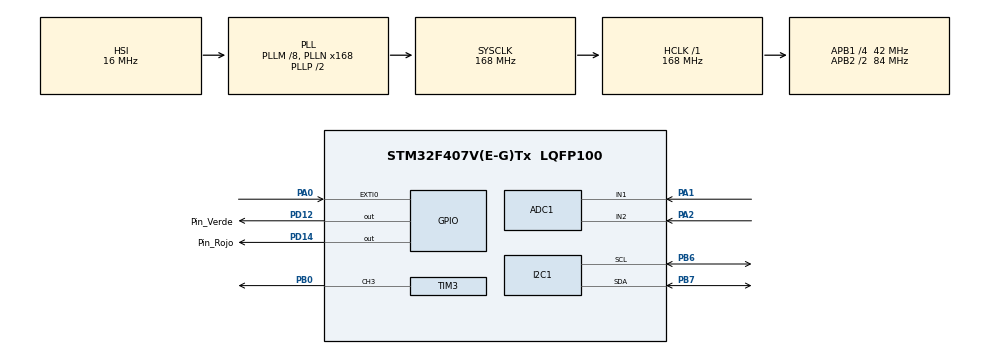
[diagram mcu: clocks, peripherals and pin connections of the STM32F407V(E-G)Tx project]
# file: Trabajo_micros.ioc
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ADC1.Channel-0\#ChannelRegularConversion=ADC_CHANNEL_1
ADC1.Channel-1\#ChannelRegularConversion=ADC_CHANNEL_2
ADC1.NbrOfConversion=2
ADC1.NbrOfConversionFlag=1
ADC1.Rank-0\#ChannelRegularConversion=1
ADC1.Rank-1\#ChannelRegularConversion=2
ADC1.SamplingTime-0\#ChannelRegularConversion=ADC_SAMPLETIME_84CYCLES
ADC1.SamplingTime-1\#ChannelRegularConversion=ADC_SAMPLETIME_84CYCLES
ADC1.ScanConvMode=ENABLE
ADC1.master=1
Mcu.Family=STM32F4
Mcu.Name=STM32F407V(E-G)Tx
Mcu.Package=LQFP100
NVIC.EXTI0_IRQn=true\:0\:0\:false\:false\:true\:true\:true\:true
NVIC.PriorityGroup=NVIC_PRIORITYGROUP_0
NVIC.TIM2_IRQn=true\:0\:0\:false\:false\:true\:true\:true\:true
PA0-WKUP.Signal=GPXTI0
PA1.Signal=ADCx_IN1
PA2.Signal=ADCx_IN2
PB0.Signal=S_TIM3_CH3
PB6.Mode=I2C
PB6.Signal=I2C1_SCL
PB7.Mode=I2C
PB7.Signal=I2C1_SDA
PD12.GPIO_Label=Pin_Verde
PD12.Signal=GPIO_Output
PD14.GPIO_Label=Pin_Rojo
PD14.Signal=GPIO_Output
ProjectManager.HeapSize=0x200
ProjectManager.StackSize=0x400
ProjectManager.TargetToolchain=STM32CubeIDE
RCC.48MHZClocksFreq_Value=48000000
RCC.AHBFreq_Value=168000000
RCC.APB1CLKDivider=RCC_HCLK_DIV4
RCC.APB1Freq_Value=42000000
RCC.APB1TimFreq_Value=84000000
RCC.APB2CLKDivider=RCC_HCLK_DIV2
RCC.APB2Freq_Value=84000000
RCC.APB2TimFreq_Value=168000000
RCC.CortexFreq_Value=168000000
RCC.HCLKFreq_Value=168000000
RCC.HSE_VALUE=8000000
RCC.HSI_VALUE=16000000
RCC.LSE_VALUE=32768
RCC.PLLM=8
RCC.PLLN=168
RCC.PLLQ=7
RCC.SYSCLKFreq_VALUE=168000000
RCC.SYSCLKSource=RCC_SYSCLKSOURCE_PLLCLK
RCC.VCOOutputFreq_Value=336000000
SH.ADCx_IN1.0=ADC1_IN1,IN1
SH.ADCx_IN2.0=ADC1_IN2,IN2
SH.S_TIM3_CH3.0=TIM3_CH3,PWM Generation3 CH3
TIM2.Period=5000
TIM2.Prescaler=16799
TIM3.Channel-PWM\ Generation3\ CH3=TIM_CHANNEL_3
TIM3.Period=1000
TIM3.Prescaler=83
VP_TIM2_VS_ClockSourceINT.Mode=Internal
board=STM32F407G-DISC1

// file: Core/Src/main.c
/* USER CODE BEGIN Header */
/**
  ******************************************************************************
  * @file           : main.c
  * @brief          : Main program body
  ******************************************************************************
  * @attention
  *
  * Copyright (c) 2025 STMicroelectronics.
  * All rights reserved.
  *
  * This software is licensed under terms that can be found in the LICENSE file
  * in the root directory of this software component.
  * If no LICENSE file comes with this software, it is provided AS-IS.
  *
  ******************************************************************************
  */
/* USER CODE END Header */
#include "main.h"

/* USER CODE BEGIN Includes */
#include "fsm.h"
#include "snake.h"
#include "display.h"
#include "sound.h"
#include "i2c-lcd.h"
#include <stdio.h>
#include <stdlib.h>
/* USER CODE END Includes */

ADC_HandleTypeDef hadc1;

I2C_HandleTypeDef hi2c1;

TIM_HandleTypeDef htim2;
TIM_HandleTypeDef htim3;

/* USER CODE BEGIN PV */
uint32_t high_score = 0; // Esta variable guardará el récord de la sesión
uint32_t last_score = 0;
uint8_t new_record_flag = 0;  // Se activa solo cuando superas el high_score
SnakeGame_t myGame;
Snake_t mySnake;
Food_t myFood;
extern GameState_t current_state; // Variable de estado definida en fsm.c
uint8_t game_tick = 0; // Bandera para el ritmo del juego
uint32_t current_period = 5000; // Empezamos en 5000 (1 segundo)
/* USER CODE END PV */

void SystemClock_Config(void);
static void MX_GPIO_Init(void);
static void MX_I2C1_Init(void);
static void MX_ADC1_Init(void);
static void MX_TIM2_Init(void);
static void MX_TIM3_Init(void);

int main(void)
{

  /* MCU Configuration--------------------------------------------------------*/

  /* Reset of all peripherals, Initializes the Flash interface and the Systick. */
  HAL_Init();

  /* Configure the system clock */
  SystemClock_Config();

  /* Initialize all configured peripherals */
  MX_GPIO_Init();
  MX_I2C1_Init();
  MX_ADC1_Init();
  MX_TIM2_Init();
  MX_TIM3_Init();
  /* USER CODE BEGIN 2 */
  // 1. Inicialización del LCD (Hardware y mensaje "INSERT COIN")
  Display_Init(&hi2c1);

  HAL_ADC_Start(&hadc1);

  if (HAL_ADC_PollForConversion(&hadc1, 10) == HAL_OK) {
      uint32_t seed = HAL_ADC_GetValue(&hadc1);
      srand(seed);
  }

  HAL_ADC_Stop(&hadc1);
  FSM_Init(&myGame);
  Snake_Init(&mySnake);
  Snake_SpawnFood(&myFood, &mySnake);
  Sound_Init(&htim3); // Inicializa PWM para el zumbador

  // Iniciar base de tiempos (TIM2) y ADC
  HAL_TIM_Base_Start_IT(&htim2);

  /* USER CODE END 2 */

  /* Infinite loop */
  /* USER CODE BEGIN WHILE */
  uint32_t last_score = 0; // Para detectar cuándo aumenta el score
  while (1)
    {
        Leer_Joystick_ADC(&mySnake);

        if (game_tick == 1) {
            FSM_Update(&myGame, &mySnake, &myFood);

            // Sonido de comida: Solo si el score sube
            if (myGame.score > last_score) {
                Sound_Play(NOTE_BEEP, 80);
                last_score = myGame.score;

                if (myGame.score > high_score) {
					high_score = myGame.score;
					new_record_flag = 1; //Activamos el aviso de celebración
				}

                if (current_period > 1000) {
                    current_period -= 200;
                    __HAL_TIM_SET_AUTORELOAD(&htim2, current_period);
                }
            }
            game_tick = 0;
        }

        // GESTIÓN DE GAME OVER: Esperar al botón
        if (myGame.currentState == STATE_GAMEOVER) {
            if (HAL_GPIO_ReadPin(GPIOA, GPIO_PIN_0) == GPIO_PIN_SET) {
                HAL_Delay(200);
                // Al hacer esta transición, se disparará Display_Reset
                FSM_TransitionTo(&myGame, STATE_RESET);
            }
        }

        // GESTIÓN DE RESET: La pausa de 5 segundos
        if (myGame.currentState == STATE_RESET) {

            // 1. EL JUEGO SE DETIENE AQUÍ 5 SEGUNDOS
            // El usuario está viendo la pantalla que puso FSM_TransitionTo
            HAL_Delay(5000);

            // 2. Ahora que pasaron los 5 seg, reiniciamos la lógica
            Snake_Init(&mySnake);
            myGame.score = 0;
            last_score = 0;
            current_period = 5000;
            __HAL_TIM_SET_AUTORELOAD(&htim2, current_period);

            // 3. Volvemos al estado de espera
            FSM_TransitionTo(&myGame, STATE_IDLE);
        }
    }
  /* USER CODE END 3 */
}

void SystemClock_Config(void)
{
  RCC_OscInitTypeDef RCC_OscInitStruct = {0};
  RCC_ClkInitTypeDef RCC_ClkInitStruct = {0};

  /** Configure the main internal regulator output voltage
  */
  __HAL_RCC_PWR_CLK_ENABLE();
  __HAL_PWR_VOLTAGESCALING_CONFIG(PWR_REGULATOR_VOLTAGE_SCALE1);

  /** Initializes the RCC Oscillators according to the specified parameters
  * in the RCC_OscInitTypeDef structure.
  */
  RCC_OscInitStruct.OscillatorType = RCC_OSCILLATORTYPE_HSI;
  RCC_OscInitStruct.HSIState = RCC_HSI_ON;
  RCC_OscInitStruct.HSICalibrationValue = RCC_HSICALIBRATION_DEFAULT;
  RCC_OscInitStruct.PLL.PLLState = RCC_PLL_ON;
  RCC_OscInitStruct.PLL.PLLSource = RCC_PLLSOURCE_HSI;
  RCC_OscInitStruct.PLL.PLLM = 8;
  RCC_OscInitStruct.PLL.PLLN = 168;
  RCC_OscInitStruct.PLL.PLLP = RCC_PLLP_DIV2;
  RCC_OscInitStruct.PLL.PLLQ = 7;
  if (HAL_RCC_OscConfig(&RCC_OscInitStruct) != HAL_OK)
  {
    Error_Handler();
  }

  /** Initializes the CPU, AHB and APB buses clocks
  */
  RCC_ClkInitStruct.ClockType = RCC_CLOCKTYPE_HCLK|RCC_CLOCKTYPE_SYSCLK
                              |RCC_CLOCKTYPE_PCLK1|RCC_CLOCKTYPE_PCLK2;
  RCC_ClkInitStruct.SYSCLKSource = RCC_SYSCLKSOURCE_PLLCLK;
  RCC_ClkInitStruct.AHBCLKDivider = RCC_SYSCLK_DIV1;
  RCC_ClkInitStruct.APB1CLKDivider = RCC_HCLK_DIV4;
  RCC_ClkInitStruct.APB2CLKDivider = RCC_HCLK_DIV2;

  if (HAL_RCC_ClockConfig(&RCC_ClkInitStruct, FLASH_LATENCY_5) != HAL_OK)
  {
    Error_Handler();
  }
}

static void MX_ADC1_Init(void)
{

  ADC_ChannelConfTypeDef sConfig = {0};

  /** Configure the global features of the ADC (Clock, Resolution, Data Alignment and number of conversion)
  */
  hadc1.Instance = ADC1;
  hadc1.Init.ClockPrescaler = ADC_CLOCK_SYNC_PCLK_DIV4;
  hadc1.Init.Resolution = ADC_RESOLUTION_12B;
  hadc1.Init.ScanConvMode = ENABLE;
  hadc1.Init.ContinuousConvMode = DISABLE;
  hadc1.Init.DiscontinuousConvMode = DISABLE;
  hadc1.Init.ExternalTrigConvEdge = ADC_EXTERNALTRIGCONVEDGE_NONE;
  hadc1.Init.ExternalTrigConv = ADC_SOFTWARE_START;
  hadc1.Init.DataAlign = ADC_DATAALIGN_RIGHT;
  hadc1.Init.NbrOfConversion = 2;
  hadc1.Init.DMAContinuousRequests = DISABLE;
  hadc1.Init.EOCSelection = ADC_EOC_SINGLE_CONV;
  if (HAL_ADC_Init(&hadc1) != HAL_OK)
  {
    Error_Handler();
  }

  /** Configure for the selected ADC regular channel its corresponding rank in the sequencer and its sample time.
  */
  sConfig.Channel = ADC_CHANNEL_1;
  sConfig.Rank = 1;
  sConfig.SamplingTime = ADC_SAMPLETIME_84CYCLES;
  if (HAL_ADC_ConfigChannel(&hadc1, &sConfig) != HAL_OK)
  {
    Error_Handler();
  }

  /** Configure for the selected ADC regular channel its corresponding rank in the sequencer and its sample time.
  */
  sConfig.Channel = ADC_CHANNEL_2;
  sConfig.Rank = 2;
  if (HAL_ADC_ConfigChannel(&hadc1, &sConfig) != HAL_OK)
  {
    Error_Handler();
  }

}

static void MX_I2C1_Init(void)
{

  hi2c1.Instance = I2C1;
  hi2c1.Init.ClockSpeed = 100000;
  hi2c1.Init.DutyCycle = I2C_DUTYCYCLE_2;
  hi2c1.Init.OwnAddress1 = 0;
  hi2c1.Init.AddressingMode = I2C_ADDRESSINGMODE_7BIT;
  hi2c1.Init.DualAddressMode = I2C_DUALADDRESS_DISABLE;
  hi2c1.Init.OwnAddress2 = 0;
  hi2c1.Init.GeneralCallMode = I2C_GENERALCALL_DISABLE;
  hi2c1.Init.NoStretchMode = I2C_NOSTRETCH_DISABLE;
  if (HAL_I2C_Init(&hi2c1) != HAL_OK)
  {
    Error_Handler();
  }

}

static void MX_TIM2_Init(void)
{

  TIM_ClockConfigTypeDef sClockSourceConfig = {0};
  TIM_MasterConfigTypeDef sMasterConfig = {0};

  htim2.Instance = TIM2;
  htim2.Init.Prescaler = 16799;
  htim2.Init.CounterMode = TIM_COUNTERMODE_UP;
  htim2.Init.Period = 5000;
  htim2.Init.ClockDivision = TIM_CLOCKDIVISION_DIV1;
  htim2.Init.AutoReloadPreload = TIM_AUTORELOAD_PRELOAD_DISABLE;
  if (HAL_TIM_Base_Init(&htim2) != HAL_OK)
  {
    Error_Handler();
  }
  sClockSourceConfig.ClockSource = TIM_CLOCKSOURCE_INTERNAL;
  if (HAL_TIM_ConfigClockSource(&htim2, &sClockSourceConfig) != HAL_OK)
  {
    Error_Handler();
  }
  sMasterConfig.MasterOutputTrigger = TIM_TRGO_RESET;
  sMasterConfig.MasterSlaveMode = TIM_MASTERSLAVEMODE_DISABLE;
  if (HAL_TIMEx_MasterConfigSynchronization(&htim2, &sMasterConfig) != HAL_OK)
  {
    Error_Handler();
  }

}

static void MX_TIM3_Init(void)
{

  TIM_MasterConfigTypeDef sMasterConfig = {0};
  TIM_OC_InitTypeDef sConfigOC = {0};

  htim3.Instance = TIM3;
  htim3.Init.Prescaler = 83;
  htim3.Init.CounterMode = TIM_COUNTERMODE_UP;
  htim3.Init.Period = 1000;
  htim3.Init.ClockDivision = TIM_CLOCKDIVISION_DIV1;
  htim3.Init.AutoReloadPreload = TIM_AUTORELOAD_PRELOAD_DISABLE;
  if (HAL_TIM_PWM_Init(&htim3) != HAL_OK)
  {
    Error_Handler();
  }
  sMasterConfig.MasterOutputTrigger = TIM_TRGO_RESET;
  sMasterConfig.MasterSlaveMode = TIM_MASTERSLAVEMODE_DISABLE;
  if (HAL_TIMEx_MasterConfigSynchronization(&htim3, &sMasterConfig) != HAL_OK)
  {
    Error_Handler();
  }
  sConfigOC.OCMode = TIM_OCMODE_PWM1;
  sConfigOC.Pulse = 0;
  sConfigOC.OCPolarity = TIM_OCPOLARITY_HIGH;
  sConfigOC.OCFastMode = TIM_OCFAST_DISABLE;
  if (HAL_TIM_PWM_ConfigChannel(&htim3, &sConfigOC, TIM_CHANNEL_3) != HAL_OK)
  {
    Error_Handler();
  }
  HAL_TIM_MspPostInit(&htim3);

}

static void MX_GPIO_Init(void)
{
  GPIO_InitTypeDef GPIO_InitStruct = {0};

  /* GPIO Ports Clock Enable */
  __HAL_RCC_GPIOA_CLK_ENABLE();
  __HAL_RCC_GPIOB_CLK_ENABLE();
  __HAL_RCC_GPIOD_CLK_ENABLE();

  /*Configure GPIO pin Output Level */
  HAL_GPIO_WritePin(GPIOD, Pin_Verde_Pin|Pin_Rojo_Pin, GPIO_PIN_RESET);

  /*Configure GPIO pin : PA0 */
  GPIO_InitStruct.Pin = GPIO_PIN_0;
  GPIO_InitStruct.Mode = GPIO_MODE_IT_RISING;
  GPIO_InitStruct.Pull = GPIO_NOPULL;
  HAL_GPIO_Init(GPIOA, &GPIO_InitStruct);

  /*Configure GPIO pins : Pin_Verde_Pin Pin_Rojo_Pin */
  GPIO_InitStruct.Pin = Pin_Verde_Pin|Pin_Rojo_Pin;
  GPIO_InitStruct.Mode = GPIO_MODE_OUTPUT_PP;
  GPIO_InitStruct.Pull = GPIO_NOPULL;
  GPIO_InitStruct.Speed = GPIO_SPEED_FREQ_LOW;
  HAL_GPIO_Init(GPIOD, &GPIO_InitStruct);

  /* EXTI interrupt init*/
  HAL_NVIC_SetPriority(EXTI0_IRQn, 0, 0);
  HAL_NVIC_EnableIRQ(EXTI0_IRQn);

}

/* USER CODE BEGIN 4 */
// Callback del Temporizador: Controla el paso de la serpiente
void HAL_TIM_PeriodElapsedCallback(TIM_HandleTypeDef *htim) {
    if (htim->Instance == TIM2) {
        // Solo damos el permiso de mover si estamos jugando
        if (myGame.currentState == STATE_PLAYING) {
            game_tick = 1;
        }
    }
}

// Callback del Botón Azul (PA0): Inicia el juego
void HAL_GPIO_EXTI_Callback(uint16_t GPIO_Pin) {
    if (GPIO_Pin == GPIO_PIN_0) {
        // Solo permitimos el inicio desde IDLE aquí.
        // El resto lo gestionamos en el main.
        if (myGame.currentState == STATE_IDLE) {
            FSM_TransitionTo(&myGame, STATE_PLAYING);
        }
    }
}

// Lectura de los ejes del Joystick mediante ADC
void Leer_Joystick_ADC(Snake_t *snake) {
    uint32_t adc_val_x;
    uint32_t adc_val_y;

    // 1. Leer valores del ADC (Asegúrate de que tus canales están configurados)
    HAL_ADC_Start(&hadc1);
    HAL_ADC_PollForConversion(&hadc1, 10);
    adc_val_x = HAL_ADC_GetValue(&hadc1);

    HAL_ADC_PollForConversion(&hadc1, 10);
    adc_val_y = HAL_ADC_GetValue(&hadc1);
    HAL_ADC_Stop(&hadc1);

    // Umbrales para detectar movimiento (Zona muerta entre 1500 y 2500)
    // Solo cambiamos la dirección si se empuja el joystick al extremo

    // EJE X (Horizontal)
    if (adc_val_x < 500) { // Joystick a la IZQUIERDA
        if (snake->direction != DIR_RIGHT) { // Bloqueo de 180°
            snake->direction = DIR_LEFT;
        }
    }
    else if (adc_val_x > 3500) { // Joystick a la DERECHA
        if (snake->direction != DIR_LEFT) {
            snake->direction = DIR_RIGHT;
        }
    }

    // EJE Y (Vertical)
    if (adc_val_y < 500) { // Joystick ARRIBA
        if (snake->direction != DIR_DOWN) {
            snake->direction = DIR_UP;
        }
    }
    else if (adc_val_y > 3500) { // Joystick ABAJO
        if (snake->direction != DIR_UP) {
            snake->direction = DIR_DOWN;
        }
    }

    // Si los valores están en el centro (ej. 2048),
    // no entramos en ningún IF y snake->direction conserva su valor previo.
}
/* USER CODE END 4 */

void Error_Handler(void)
{
  __disable_irq();
  while (1)
  {
  }
}
